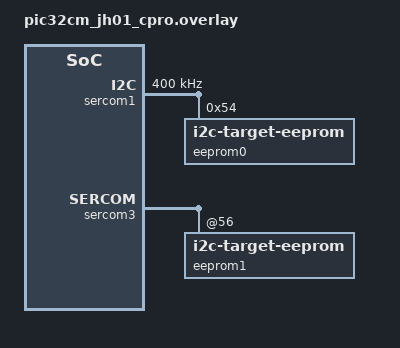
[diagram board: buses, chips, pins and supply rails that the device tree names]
/*
 * Copyright (c) 2026 Microchip Technology Inc.
 *
 * SPDX-License-Identifier: Apache-2.0
 */

/* Connect PA16 to PA22 (SDA), and PA17 to PA23 (SCL) */

&pinctrl {
	sercom1_i2c_default: sercom1_i2c_default {
		group1 {
			pinmux = <PA16C_SERCOM1_PAD0>,
				 <PA17C_SERCOM1_PAD1>;
		};
	};
};

&sercom1 {
	compatible = "microchip,sercom-g1-i2c";
	#address-cells = <1>;
	#size-cells = <0>;
	clock-frequency = <I2C_BITRATE_FAST>;
	pinctrl-0 = <&sercom1_i2c_default>;
	pinctrl-names = "default";
	status = "okay";

	eeprom0: eeprom@54 {
		compatible = "zephyr,i2c-target-eeprom";
		reg = <0x54>;
		size = <256>;
	};
};

&sercom3 {
	eeprom1: eeprom@56 {
		compatible = "zephyr,i2c-target-eeprom";
		reg = <0x56>;
		size = <256>;
	};
};
